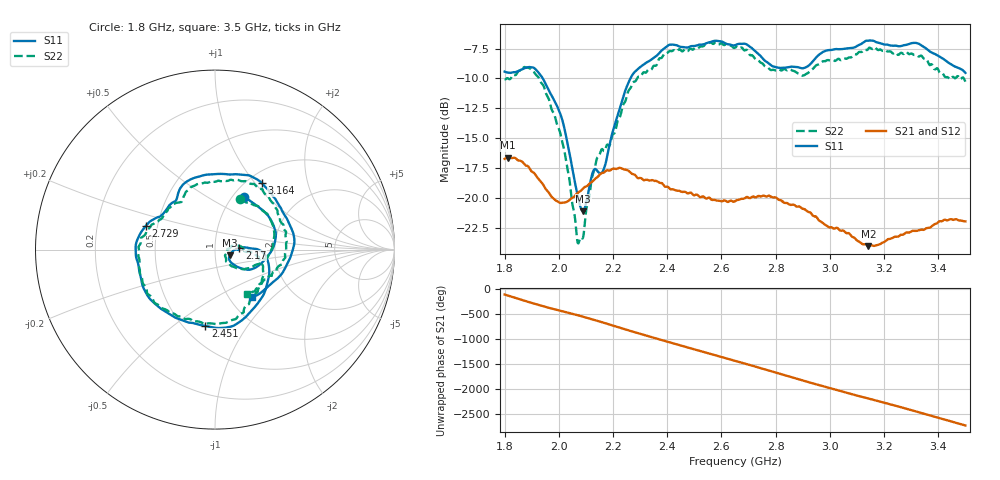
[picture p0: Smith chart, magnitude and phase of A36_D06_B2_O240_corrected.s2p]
! Created with skrf 1.9.0 (http://scikit-rf.org).
# Hz S RI R 50.0
!freq ReS11 ImS11 ReS21 ImS21 ReS12 ImS12 ReS22 ImS22
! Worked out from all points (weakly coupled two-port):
!   1601 points, 1.8 GHz to 3.5 GHz, reference 50 ohm
!   highest |S21| = -16.64 dB at 1.813 GHz (marker M1); lowest = -24.1 dB at 3.142 GHz (marker M2)
!   lowest |S11| = -21.1 dB at 2.09 GHz (marker M3), VSWR 1.19, Z = 58.8 - j3.77 ohm
!   |S11| at or under -10 dB: 1.941 GHz to 2.264 GHz (323 MHz wide, 15.4 % of centre)
!   |S22| runs from -23.8 to -6.9 dB; largest |S21 - S12| = 0.0024
!   S11 on the Smith chart (normalised r, x): 1.8 GHz: 1.13, +0.75; 2.17 GHz: 1.31, +0.03; 2.451 GHz: 0.63, -0.66; 2.729 GHz: 0.43, +0.14; 3.164 GHz: 1.16, +1.09; 3.5 GHz: 1.27, -0.75
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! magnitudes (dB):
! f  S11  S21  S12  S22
! 1.8 GHz  -9.4  -16.7  -16.7  -10.1
! 1.813 GHz  -9.5  -16.6  -16.6  -10.0
! 1.882 GHz  -9.1  -17.3  -17.3  -9.1
! 1.943 GHz  -10.1  -18.9  -18.9  -10.6
! 2.011 GHz  -13.4  -20.4  -20.4  -15.2
! 2.068 GHz  -19.6  -19.6  -19.6  -23.6
! 2.084 GHz  -21.0  -19.4  -19.3  -23.3
! 2.09 GHz  -21.1  -19.2  -19.2  -23.3
! 2.131 GHz  -17.6  -18.5  -18.5  -17.6
! 2.17 GHz  -17.4  -17.8  -17.9  -16.0
! 2.262 GHz  -10.1  -17.8  -17.8  -10.9
! 2.367 GHz  -8.0  -18.7  -18.6  -8.5
! 2.451 GHz  -7.4  -19.5  -19.5  -7.7
! 2.65 GHz  -7.2  -20.3  -20.3  -7.4
! 2.729 GHz  -7.8  -19.9  -20.0  -8.4
! 2.808 GHz  -9.1  -20.1  -20.1  -9.2
! 2.934 GHz  -8.6  -21.4  -21.4  -9.2
! 3.142 GHz  -6.8  -24.1  -23.9  -7.5
! 3.164 GHz  -6.9  -24.0  -24.0  -7.4
! 3.217 GHz  -7.2  -23.5  -23.4  -7.7
! 3.325 GHz  -7.1  -22.7  -22.7  -8.1
! 3.5 GHz  -9.5  -22.0  -22.0  -10.3
